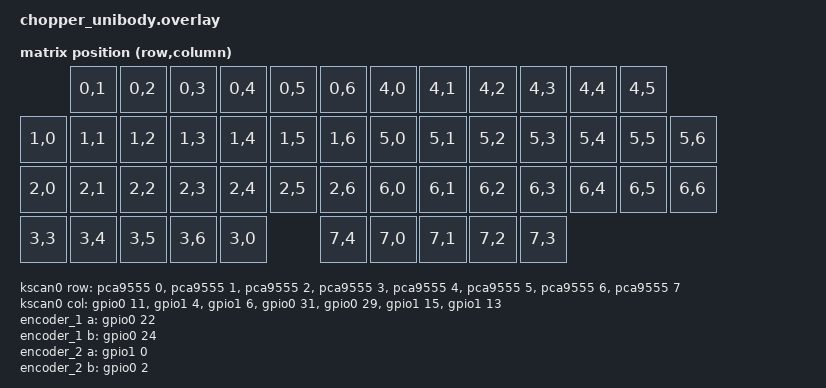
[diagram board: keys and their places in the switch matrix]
#include <dt-bindings/zmk/matrix_transform.h>
#include <physical_layouts.dtsi>

/ {
    chosen {
        zmk,kscan = &kscan0;
        zmk,matrix_transform = &default_transform;
        zephyr,display = &oled;
    };

    // =========================================================
    // 1. HARDWARE MATRIX SCANNER (nice!nano Columns + Expander Rows)
    // =========================================================
    kscan0: kscan {
        compatible = "zmk,kscan-gpio-matrix";
        diode-direction = "col2row";

        // 7 Central column nodes routed straight to nice!nano side pins
        col-gpios
            = <&gpio0 11 GPIO_ACTIVE_HIGH> // C0 (D7)
            , <&gpio1 4  GPIO_ACTIVE_HIGH> // C1 (D8)
            , <&gpio1 6  GPIO_ACTIVE_HIGH> // C2 (D9)
            , <&gpio0 31 GPIO_ACTIVE_HIGH> // C3 (D21)
            , <&gpio0 29 GPIO_ACTIVE_HIGH> // C4 (D20)
            , <&gpio1 15 GPIO_ACTIVE_HIGH> // C5 (D18)
            , <&gpio1 13 GPIO_ACTIVE_HIGH> // C6 (D15)
            ;

        row-gpios
            = <&pca9555 0 (GPIO_ACTIVE_HIGH | GPIO_PULL_DOWN)> 
            , <&pca9555 1 (GPIO_ACTIVE_HIGH | GPIO_PULL_DOWN)> 
            , <&pca9555 2 (GPIO_ACTIVE_HIGH | GPIO_PULL_DOWN)> 
            , <&pca9555 3 (GPIO_ACTIVE_HIGH | GPIO_PULL_DOWN)> 
            , <&pca9555 4 (GPIO_ACTIVE_HIGH | GPIO_PULL_DOWN)> 
            , <&pca9555 5 (GPIO_ACTIVE_HIGH | GPIO_PULL_DOWN)> 
            , <&pca9555 6 (GPIO_ACTIVE_HIGH | GPIO_PULL_DOWN)> 
            , <&pca9555 7 (GPIO_ACTIVE_HIGH | GPIO_PULL_DOWN)> 
            ;
    };


    default_transform: matrix_transform {
        compatible = "zmk,matrix-transform";
        columns = <7>; 
        rows = <8>;    

        map = <
    // Physical Row 1 (12 keys)
            RC(0,1) RC(0,2) RC(0,3) RC(0,4) RC(0,5) RC(0,6) RC(4,0) RC(4,1) RC(4,2) RC(4,3) RC(4,4) RC(4,5)
    
    // Physical Row 2 (14 keys)
    RC(1,0) RC(1,1) RC(1,2) RC(1,3) RC(1,4) RC(1,5) RC(1,6) RC(5,0) RC(5,1) RC(5,2) RC(5,3) RC(5,4) RC(5,5) RC(5,6)
    
    // Physical Row 3 (14 keys)
    RC(2,0) RC(2,1) RC(2,2) RC(2,3) RC(2,4) RC(2,5) RC(2,6) RC(6,0) RC(6,1) RC(6,2) RC(6,3) RC(6,4) RC(6,5) RC(6,6)
    
    // Physical Row 4 (10 thumb keys)
    RC(3,3) RC(3,4) RC(3,5) RC(3,6) RC(3,0)         RC(7,4) RC(7,0) RC(7,1) RC(7,2) RC(7,3)
        >;
    };

    // =========================================================
    // 3. PHYSICAL ENCODERS
    // =========================================================
    encoder_1: encoder_1 {
        compatible = "alps,ec11";
        a-gpios = <&gpio0 22 (GPIO_ACTIVE_HIGH | GPIO_PULL_UP)>; // D4
        b-gpios = <&gpio0 24 (GPIO_ACTIVE_HIGH | GPIO_PULL_UP)>; // D5
        steps = <80>;
    };

    encoder_2: encoder_2 {
        compatible = "alps,ec11";
        a-gpios = <&gpio1 0  (GPIO_ACTIVE_HIGH | GPIO_PULL_UP)>; // D6
        b-gpios = <&gpio0 2  (GPIO_ACTIVE_HIGH | GPIO_PULL_UP)>; // D19
        steps = <80>;
    };

    sensors: sensors {
        compatible = "zmk,keymap-sensors";
        sensors = <&encoder_1 &encoder_2>;
        triggers-per-rotation = <20>;
    };
};

// =========================================================
// 4. SHARED I2C BUS (OLED Display + PCA9555 Expander)
// =========================================================
&i2c0 {
    status = "okay";
    clock-frequency = <I2C_BITRATE_FAST>; 

    oled: ssd1306@3c {
        compatible = "solomon,ssd1306fb";
        reg = <0x3c>;
        width = <128>;
        height = <32>;
        segment-remap;
        com-invdir;
        prechargep = <0x22>;
        segment-offset = <0>;
        page-offset = <0>;
        display-offset = <0>;
        multiplex-ratio = <31>;
    };

    pca9555: pca9555@20 {
        compatible = "nxp,pca95xx";
        status = "okay";
        reg = <0x20>;
        gpio-controller;
        #gpio-cells = <2>;
        ngpios = <16>;
        interrupt-gpios = <&gpio0 6 (GPIO_ACTIVE_LOW | GPIO_PULL_UP)>; // D1 Pin
    };
};
